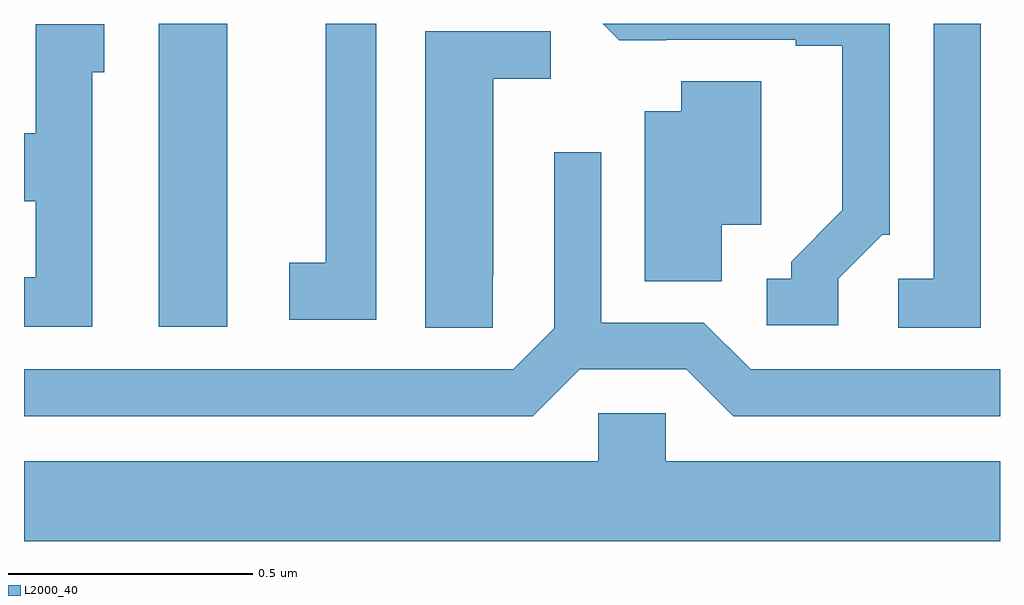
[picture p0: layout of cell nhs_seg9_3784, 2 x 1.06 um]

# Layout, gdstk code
import gdstk
lib = gdstk.Library(unit=1e-6, precision=1e-09)
def R(c, l, rs):  # rectangles x0, y0, x1, y1
    for r in rs: c.add(gdstk.rectangle(r[:2], r[2:], *l))
def P(c, l, *ps):  # polygons
    for p in ps: c.add(gdstk.Polygon(p, *l))
L2000_40 = (2000, 40)

nhs_seg9_3784 = lib.new_cell('nhs_seg9_3784')
R(nhs_seg9_3784, L2000_40, [(158.276,1176.879,158.416,1177.5)])
P(nhs_seg9_3784, L2000_40, [(158.722,1177.5),(158.618,1177.5),(158.618,1177.01),(158.544,1177.01),(158.544,1176.894),(158.722,1176.894)],
  [(159.669,1176.978),(159.759,1177.068),(159.774,1177.068),(159.774,1177.5),(159.186,1177.5),(159.22,1177.466),(159.316,1177.466),(159.316,1177.467),(159.581,1177.467),(159.581,1177.455),(159.677,1177.455),(159.677,1177.118),(159.572,1177.013),(159.572,1176.978),(159.522,1176.978),(159.522,1176.882),(159.669,1176.882)],
  [(159.961,1177.5),(159.864,1177.5),(159.864,1176.978),(159.792,1176.978),(159.792,1176.877),(159.961,1176.877)],
  [(158.14,1177.401),(158.164,1177.401),(158.164,1177.499),(158.024,1177.499),(158.024,1177.276),(158,1177.276),(158,1177.136),(158.024,1177.136),(158.024,1176.981),(158,1176.981),(158,1176.879),(158.14,1176.879)],
  [(158.961,1176.985),(158.962,1176.985),(158.962,1177.388),(159.079,1177.388),(159.079,1177.485),(158.822,1177.485),(158.822,1176.877),(158.961,1176.877)],
  [(159.43,1177.088),(159.511,1177.088),(159.511,1177.382),(159.347,1177.382),(159.347,1177.321),(159.272,1177.321),(159.272,1176.973),(159.43,1176.973)],
  [(159.139,1176.792),(159.357,1176.792),(159.453,1176.696),(160,1176.696),(160,1176.792),(159.489,1176.792),(159.393,1176.888),(159.183,1176.888),(159.183,1177.237),(159.087,1177.237),(159.087,1176.876),(159.003,1176.792),(158,1176.792),(158,1176.696),(159.043,1176.696)],
  [(160,1176.604),(159.315,1176.604),(159.315,1176.702),(159.177,1176.702),(159.177,1176.604),(158,1176.604),(158,1176.44),(160,1176.44)])

lib.write_gds('nhs_seg9_3784.gds')
